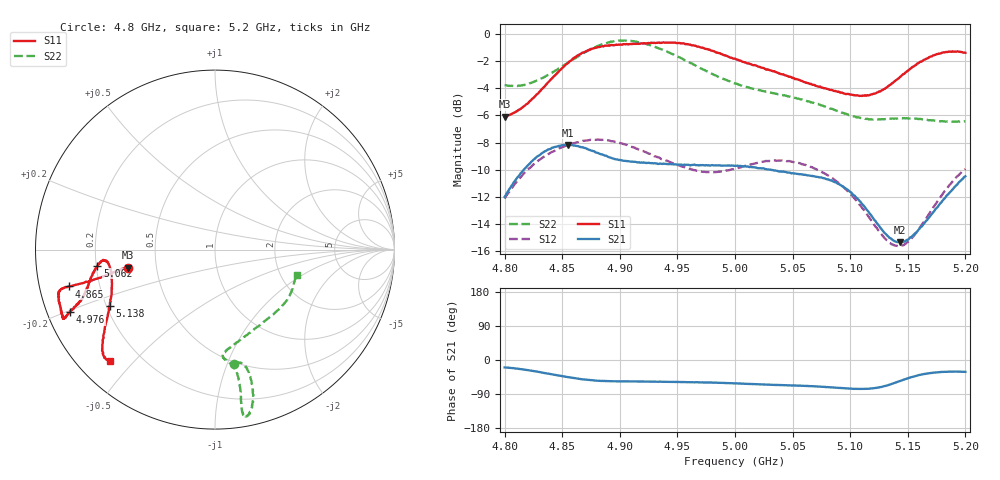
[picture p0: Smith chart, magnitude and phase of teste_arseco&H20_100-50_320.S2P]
! Network Analyzer HP8722D
! Hewlett-Packard
! Data name: Linha & Wilkinson
! Saver's name: Rodrigo Anjos
! Comments: Teste da utilização de aquisição
! continua pelo VNA HP8722D
! Time and date: 6/5/2025 15:14
!  Frequency  S11  S21  S12  S22
# HZ  S  MA R 50
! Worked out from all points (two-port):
!   401 points, 4.8 GHz to 5.2 GHz, reference 50 ohm
!   highest |S21| = -8.17 dB at 4.855 GHz (marker M1); lowest = -15.3 dB at 5.143 GHz (marker M2)
!   |S21| within 3 dB of the highest: 4.806 GHz to 5.093 GHz (286.6 MHz wide, 5.79 % of centre); 5.191795 GHz to end of sweep
!   lowest |S11| = -6.1 dB at 4.8 GHz (marker M3), VSWR 2.97, Z = 17 - j4.58 ohm
!   |S11| at or under -10 dB: nowhere
!   |S22| runs from -6.5 to -0.5 dB; largest |S21 - S12| = 0.62
!   S11 on the Smith chart (normalised r, x): 4.8 GHz: 0.34, -0.09; 4.865 GHz: 0.09, -0.12; 4.976 GHz: 0.07, -0.21; 5.062 GHz: 0.21, -0.07; 5.138 GHz: 0.21, -0.24; 5.2 GHz: 0.09, -0.43
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4.8e9  0.4967 -168.2  0.2514 -19.6  0.248 -140.7  0.6478 -80.4
4.827e9  0.5931 -167.1  0.3503 -30.0  0.3358 -144.6  0.6705 -75.5
4.855e9  0.781 -165.8  0.3904 -45.2  0.3898 -149.9  0.7822 -74.6
4.865e9  0.8402 -165.9  0.3849 -49.8  0.4008 -151.6  0.832 -75.3
4.867e9  0.8502 -165.7  0.3828 -50.8  0.4028 -152.0  0.8424 -75.4
4.899e9  0.9123 -162.8  0.3441 -56.4  0.3979 -156.6  0.9448 -79.0
4.934e9  0.9285 -156.3  0.3327 -57.4  0.3514 -155.6  0.8844 -80.5
4.953e9  0.9219 -155.5  0.3308 -58.2  0.3264 -152.0  0.8148 -79.8
4.976e9  0.8789 -156.7  0.3286 -59.3  0.3105 -144.9  0.7276 -79.6
5e9  0.8102 -158.9  0.3271 -61.7  0.3196 -137.2  0.6572 -81.3
5.036e9  0.7223 -165.5  0.314 -65.9  0.3415 -134.4  0.6023 -85.6
5.062e9  0.6608 -172.2  0.3024 -68.5  0.3285 -136.3  0.5673 -83.8
5.067e9  0.6502 -173.0  0.3004 -69.0  0.3235 -136.7  0.5595 -82.7
5.083e9  0.6219 -174.4  0.289 -72.2  0.2975 -138.1  0.5308 -76.9
5.101e9  0.5982 -172.0  0.2609 -75.8  0.2557 -138.7  0.5004 -66.6
5.115e9  0.5948 -166.0  0.224 -75.9  0.2157 -135.8  0.4872 -56.6
5.134e9  0.6469 -154.3  0.1778 -65.3  0.1707 -120.8  0.4874 -43.4
5.138e9  0.6664 -151.8  0.1736 -61.1  0.1672 -115.6  0.4878 -40.8
5.143e9  0.6919 -149.2  0.1715 -55.8  0.1662 -109.0  0.4884 -38.1
5.154e9  0.7554 -144.4  0.1807 -44.5  0.1787 -95.1  0.4881 -32.3
5.174e9  0.8381 -138.5  0.2266 -32.8  0.2362 -80.3  0.4794 -23.9
5.2e9  0.8519 -133.5  0.2995 -31.3  0.3187 -76.8  0.4773 -17.5
